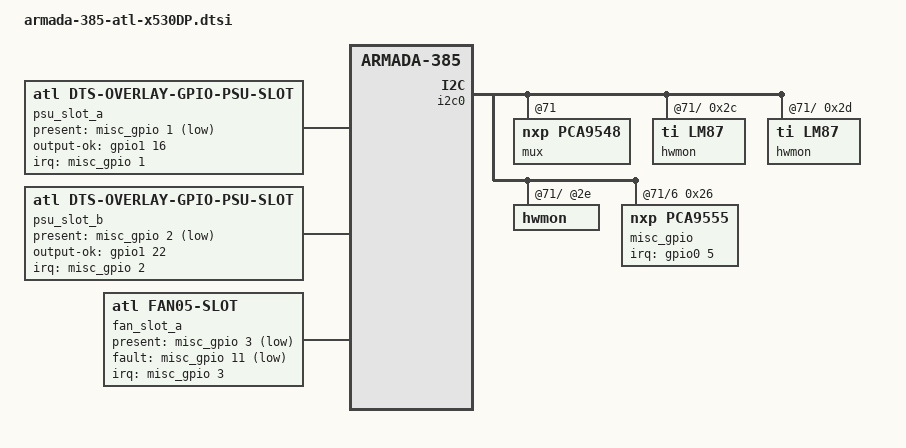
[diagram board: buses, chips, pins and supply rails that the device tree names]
// SPDX-License-Identifier: GPL-2.0

&i2c0 {
	mux@71 {
		compatible = "nxp,pca9548";

		i2c@1 {
			hwmon@2c {
				compatible = "ti,lm87";
				reg = <0x2c>;
			};

			hwmon@2d {
				compatible = "ti,lm87";
				reg = <0x2d>;
			};

			hwmon@2e {
				pwm-polarity = <1>;
			};
		};

		psu_a_adapter: i2c@4 {
			#address-cells = <1>;
			#size-cells = <0>;
			reg = <4>;
		};

		psu_b_adapter: i2c@5 {
			#address-cells = <1>;
			#size-cells = <0>;
			reg = <5>;
		};

		i2c@6 {
			#address-cells = <1>;
			#size-cells = <0>;
			reg = <6>;

			misc_gpio: gpio@26 {
				compatible = "nxp,pca9555";
				gpio-controller;
				#gpio-cells = <2>;
				reg = <0x26>;
				interrupt-parent = <&gpio0>;
				interrupts = <5 IRQ_TYPE_LEVEL_LOW>;
				status = "okay";
				interrupt-controller;
				#interrupt-cells = <2>;

				psu_bank2 {
					gpio-hog;
					gpios = <0 GPIO_ACTIVE_HIGH>;
					output-high;
					line-name = "psu-bank2";
				};
			};
		};
	};
};

/ {
	psu_slot_a {
		compatible = "atl,dts-overlay-gpio-psu-slot";
		slot-name = "PSU Bay A";
		board-index = <1>;
		present-gpio = <&misc_gpio 1 GPIO_ACTIVE_LOW>;
		output-ok-gpio = <&gpio1 16 GPIO_ACTIVE_HIGH>;
		interrupt-parent = <&misc_gpio>;
		interrupts = <1 IRQ_TYPE_EDGE_BOTH>;
		overlay = <&psu_a_overlay>;
	};

	psu_slot_b {
		compatible = "atl,dts-overlay-gpio-psu-slot";
		slot-name = "PSU Bay B";
		board-index = <2>;
		present-gpio = <&misc_gpio 2 GPIO_ACTIVE_LOW>;
		output-ok-gpio = <&gpio1 22 GPIO_ACTIVE_HIGH>;
		interrupt-parent = <&misc_gpio>;
		interrupts = <2 IRQ_TYPE_EDGE_BOTH>;
		overlay = <&psu_b_overlay>;
	};

	fan_slot_a {
		compatible = "atl,fan05-slot";
		slot-name = "Fan Bay A";
		board-index = <3>;
		present-gpio = <&misc_gpio 3 GPIO_ACTIVE_LOW>;
		fault-gpio = <&misc_gpio 11 GPIO_ACTIVE_LOW>;
		interrupt-parent = <&misc_gpio>;
		interrupts = <3 IRQ_TYPE_EDGE_BOTH>;
		overlay = <&fan_a_overlay>;
	};
};

/ {
	psu_a_overlay: psu_a {
		fragment@0 {
			target = <&psu_a_adapter>;
			__overlay__ {
				#address-cells = <1>;
				#size-cells = <0>;

				psu@51 {
					compatible = "atl,atl-pwr-gen2";
					reg = <0x51>;
					board-index = <1>;
				};
			};
		};
	};
};

/ {
	psu_b_overlay: psu_b {
		fragment@0 {
			target = <&psu_b_adapter>;
			__overlay__ {
				#address-cells = <1>;
				#size-cells = <0>;

				psu@51 {
					compatible = "atl,atl-pwr-gen2";
					reg = <0x51>;
					board-index = <2>;
				};
			};
		};
	};
};

/ {
	fan_a_overlay:fan_a {
		fragment@1 {
			target-path = "/";
			__overlay__ {
				fan@1 {
					compatible = "atl,fan05";
					board-index = <3>;
					module-id-gpios =
						<&misc_gpio 4 GPIO_ACTIVE_HIGH>,
						<&misc_gpio 5 GPIO_ACTIVE_HIGH>,
						<&misc_gpio 6 GPIO_ACTIVE_HIGH>;
				};
			};
		};
	};
};
